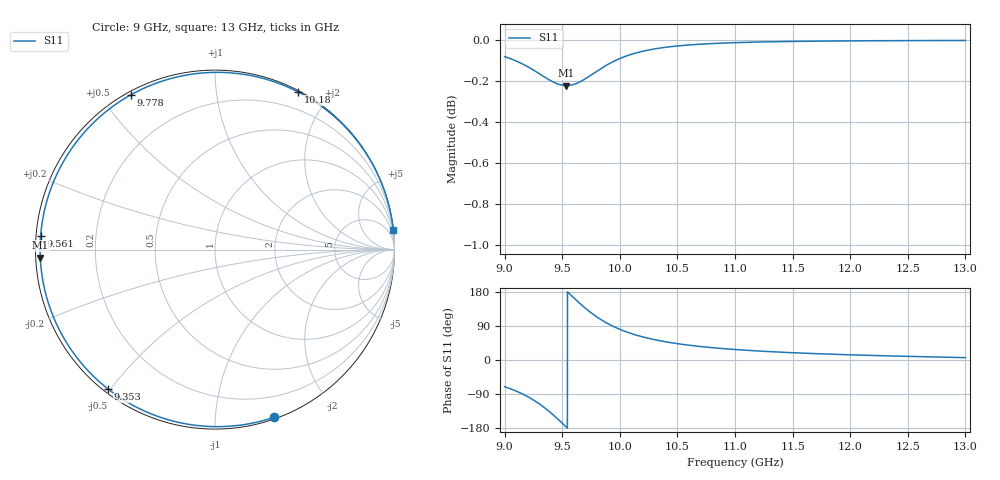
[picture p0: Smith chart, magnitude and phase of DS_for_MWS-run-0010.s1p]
! TOUCHSTONE file generated by CST DESIGN STUDIO
! Date and time: Tue Feb  4 12:32:18 2025
! Project name: C:\Work\MatlabApps\UnitCellOptimizationMatlab\CST\unitcell.cst
! Tree item: Tasks\Sweep1\SPara1\S-Parameters
! Header version: 2024
! Port assignment regex: !\s*Touchstone port\s*([0-9]+)\s*=\s*(CST MWS port|CST DES external port|CST DES block port)\s*(.+)\s* \(\"(.*)\"\)(\s*mode\s*([0-9]+))?.*
! Touchstone port assignment:
! Touchstone port 1 = CST DES external port 1 ("")
# GHz S MA R 50
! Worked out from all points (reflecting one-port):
!   4001 points, 9 GHz to 13 GHz, reference 50 ohm
!   lowest |S11| = -0.2 dB at 9.537 GHz (marker M1), VSWR 77.68, Z = 0.644 - j1.13 ohm
!   phase of S11 starts at -71 deg and turns -283 deg over the sweep
!   S11 on the Smith chart (normalised r, x): 9 GHz: 0.01, -1.41; 9.353 GHz: 0.01, -0.49; 9.561 GHz: 0.01, +0.04; 9.778 GHz: 0.01, +0.60; 10.18 GHz: 0.01, +1.66; 13 GHz: 0, +18
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9  0.9905 -70.6
9.1  0.9881 -82.0
9.209  0.9846 -98.2
9.285  0.9817 -112.4
9.353  0.979 -127.4
9.423  0.9765 -145.1
9.463  0.9754 -156.1
9.5  0.9748 -166.6
9.537  0.9746 -177.4
9.561  0.9747 175.6
9.615  0.9755 159.9
9.676  0.9774 143.1
9.727  0.9794 130.2
9.778  0.9815 118.5
9.826  0.9835 108.6
9.877  0.9855 99.2
9.934  0.9875 90.1
10  0.9894 81.0
10.088  0.9915 71.0
10.184  0.9933 62.2
10.328  0.9951 52.0
10.5  0.9964 43.1
10.721  0.9975 34.9
11  0.9983 27.7
11.5  0.999 19.2
12  0.9993 13.7
12.5  0.9994 9.6
13  0.9995 6.3
